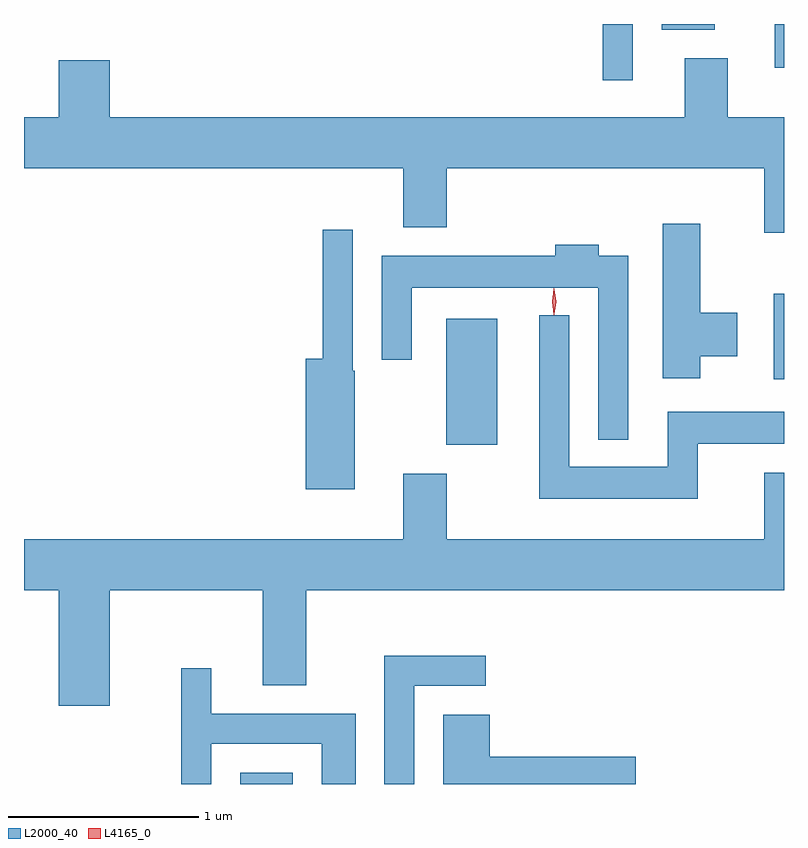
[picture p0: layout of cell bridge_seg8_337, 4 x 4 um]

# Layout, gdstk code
import gdstk
lib = gdstk.Library(unit=1e-6, precision=1e-09)
def R(c, l, rs):  # rectangles x0, y0, x1, y1
    for r in rs: c.add(gdstk.rectangle(r[:2], r[2:], *l))
def P(c, l, *ps):  # polygons
    for p in ps: c.add(gdstk.Polygon(p, *l))
L2000_40 = (2000, 40)
L4165_0 = (4165, 0)

bridge_seg8_337 = lib.new_cell('bridge_seg8_337')
R(bridge_seg8_337, L2000_40, [(935.311,1904.215,935.589,1904.274), (936.396,1906.001,936.664,1906.664), (938.121,1906.346,938.174,1906.794), (937.221,1907.918,937.379,1908.215), (938.126,1907.986,938.174,1908.215), (937.531,1908.186,937.809,1908.215)])
P(bridge_seg8_337, L2000_40, [(934.624,1908.024),(934.356,1908.024),(934.356,1907.724),(934.174,1907.724),(934.174,1907.456),(936.171,1907.456),(936.171,1907.146),(936.399,1907.146),(936.399,1907.456),(938.071,1907.456),(938.071,1907.116),(938.174,1907.116),(938.174,1907.724),(937.879,1907.724),(937.879,1908.034),(937.651,1908.034),(937.651,1907.724),(934.624,1907.724)],
  [(937.734,1906.466),(937.929,1906.466),(937.929,1906.694),(937.734,1906.694),(937.734,1907.164),(937.536,1907.164),(937.536,1906.351),(937.734,1906.351)],
  [(935.914,1906.39),(935.904,1906.39),(935.904,1907.133),(935.746,1907.133),(935.746,1906.454),(935.656,1906.454),(935.656,1905.766),(935.914,1905.766)],
  [(937.354,1906.994),(937.199,1906.994),(937.199,1907.054),(936.971,1907.054),(936.971,1906.994),(936.056,1906.994),(936.056,1906.448),(936.214,1906.448),(936.214,1906.826),(937.196,1906.826),(937.196,1906.028),(937.354,1906.028)],
  [(937.719,1906.006),(938.174,1906.006),(938.174,1906.174),(937.561,1906.174),(937.561,1905.884),(937.044,1905.884),(937.044,1906.683),(936.886,1906.683),(936.886,1905.716),(937.719,1905.716)],
  [(934.624,1905.236),(935.431,1905.236),(935.431,1904.736),(935.659,1904.736),(935.659,1905.236),(938.174,1905.236),(938.174,1905.854),(938.071,1905.854),(938.071,1905.504),(936.399,1905.504),(936.399,1905.849),(936.171,1905.849),(936.171,1905.504),(934.174,1905.504),(934.174,1905.236),(934.356,1905.236),(934.356,1904.626),(934.624,1904.626)],
  [(936.229,1904.731),(936.603,1904.731),(936.603,1904.889),(936.071,1904.889),(936.071,1904.215),(936.229,1904.215)],
  [(935.159,1904.426),(935.741,1904.426),(935.741,1904.215),(935.919,1904.215),(935.919,1904.584),(935.159,1904.584),(935.159,1904.823),(935.001,1904.823),(935.001,1904.215),(935.159,1904.215)],
  [(937.394,1904.359),(936.624,1904.359),(936.624,1904.579),(936.381,1904.579),(936.381,1904.215),(937.394,1904.215)])
P(bridge_seg8_337, L4165_0, [(936.963,1906.683),(936.962,1906.684),(936.953,1906.753),(936.962,1906.822),(936.963,1906.823),(936.964,1906.822),(936.973,1906.753),(936.964,1906.684)],
  [(936.963,1906.687),(936.953,1906.754),(936.963,1906.82),(936.964,1906.82),(936.964,1906.82),(936.974,1906.754),(936.964,1906.687),(936.964,1906.687)])

lib.write_gds('bridge_seg8_337.gds')
